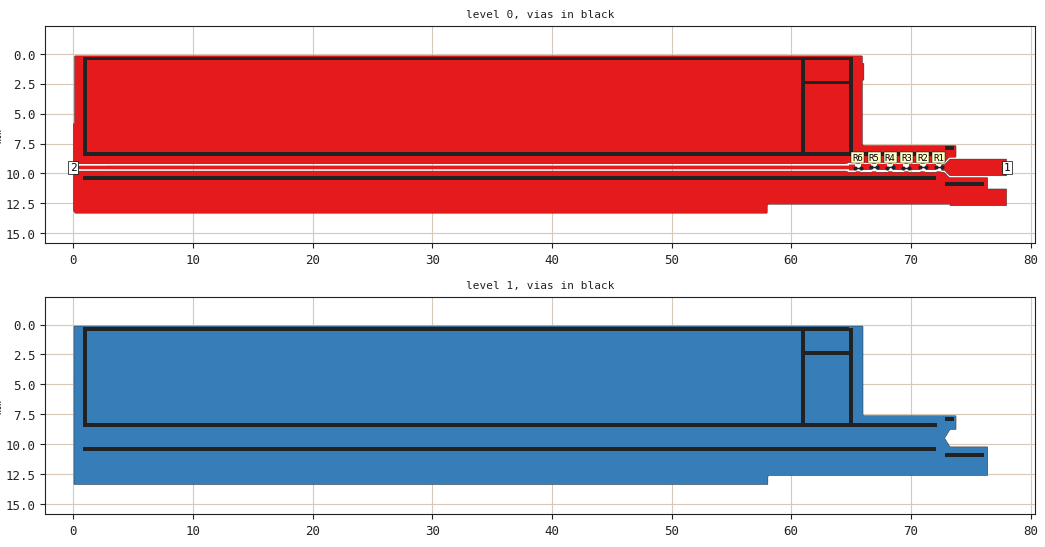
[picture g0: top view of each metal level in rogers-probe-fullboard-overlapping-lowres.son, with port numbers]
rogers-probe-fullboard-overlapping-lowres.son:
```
FTYP SONPROJ 17 ! Sonnet Project File
VER 17.52.2
HEADER
LIC antikernel2.2.49648 90e2ba8817c0 havequick azonenberg
DAT 08/19/2020 03:57:35
BUILT_BY_CREATED xgeom 16.56 07/03/2018 15:05:41
BUILT_BY_SAVED sonnet 17.52.2
MDATE 08/16/2020 10:38:09
HDATE 08/16/2020 10:38:09
END HEADER
DIM
ANG DEG
CAP PF
CON /OH
FREQ GHZ
IND NH
LNG MM
RES OH
END DIM
CONTROL
VARSWP
OPTIONS  -dj
SPEED 1
CACHE_ABS 1
Q_ACC N
END CONTROL
GEO
TMET "Free Space" 0 FREESPACE 376.7303136 0 0 0
BMET "Free Space" 0 FREESPACE 376.7303136 0 0 0
MET "Copper thick 1oz" 1 TMM 58000000 0.5 0.035 2
MET "Copper" 2 NOR 58000000 0.5 0.035 
BOX 2 78 13.5 6240 1080 20 0
      1 1 1 0 0 0 0 "Air"
      0.16 3.5 1 0.0037 0 0 0 "Rogers RO4350B"
      1 1 1 0 0 0 0 "Substrate"
TECHLAY METAL Metal1 <UNSPECIFIED> -2 0 
0 0 0 N 0 1 1 100 100 0 0 0 Y
END
END
TECHLAY METAL Metal2 <UNSPECIFIED> -3 0 
1 0 1 N 0 1 1 100 100 0 0 0 Y
END
END
LORGN 0 13.5 U 
POR1 BOX
POLY 254 1
33
1 50 0 0 0 78 9.5 
POR1 BOX
POLY 258 1
7
2 50 0 0 0 0 9.5 
SMD 0 "R1"
ID 226
GNDREF AUTO
SBOX 72.199 72.449 9.339 9.589
PBSHW N
LPOS 72.324 9.339
TYPE SPARAM 1
SMDP 0 72.574 9.464 R 3 1 
EXSMDP
GNDREF AUTO
TERMW FEED
END EXSMDP
SMDP 0 72.074 9.464 L 4 2 
EXSMDP
GNDREF AUTO
TERMW FEED
END EXSMDP
END
SMD 0 "R2"
ID 229
GNDREF AUTO
SBOX 70.849 71.099 9.364 9.614
PBSHW N
LPOS 70.974 9.364
TYPE SPARAM 2
SMDP 0 71.224 9.489 R 5 1 
EXSMDP
GNDREF AUTO
TERMW FEED
END EXSMDP
SMDP 0 70.724 9.489 L 6 2 
EXSMDP
GNDREF AUTO
TERMW FEED
END EXSMDP
END
SMD 0 "R3"
ID 232
GNDREF AUTO
SBOX 69.499 69.749 9.389 9.639
PBSHW N
LPOS 69.624 9.389
TYPE SPARAM 2
SMDP 0 69.874 9.514 R 7 1 
EXSMDP
GNDREF AUTO
TERMW FEED
END EXSMDP
SMDP 0 69.374 9.514 L 8 2 
EXSMDP
GNDREF AUTO
TERMW FEED
END EXSMDP
END
SMD 0 "R4"
ID 235
GNDREF AUTO
SBOX 68.149 68.399 9.3765 9.6265
PBSHW N
LPOS 68.274 9.3765
TYPE SPARAM 2
SMDP 0 68.524 9.489 R 9 1 
EXSMDP
GNDREF AUTO
TERMW FEED
END EXSMDP
SMDP 0 68.024 9.514 L 10 2 
EXSMDP
GNDREF AUTO
TERMW FEED
END EXSMDP
END
SMD 0 "R5"
ID 238
GNDREF AUTO
SBOX 66.799 67.049 9.364 9.614
PBSHW N
LPOS 66.924 9.364
TYPE SPARAM 2
SMDP 0 67.174 9.489 R 11 1 
EXSMDP
GNDREF AUTO
TERMW FEED
END EXSMDP
SMDP 0 66.674 9.489 L 12 2 
EXSMDP
GNDREF AUTO
TERMW FEED
END EXSMDP
END
SMD 0 "R6"
ID 241
GNDREF AUTO
SBOX 65.449 65.699 9.389 9.639
PBSHW N
LPOS 65.574 9.389
TYPE SPARAM 3
SMDP 0 65.824 9.514 R 13 1 
EXSMDP
GNDREF AUTO
TERMW FEED
END EXSMDP
SMDP 0 65.324 9.514 L 14 2 
EXSMDP
GNDREF AUTO
TERMW FEED
END EXSMDP
END
NUM 15
VIA POLYGON
0 5 -1 N 244 1 1 100 100 0 0 0 Y
TOLEVEL 1 RING NOCOVERS
USER_DAT FromImport
0.824 0.539
0.824 0.239
64.8 0.239
64.8 0.539
0.824 0.539
END
VIA POLYGON
0 5 -1 N 245 1 1 100 100 0 0 0 Y
TOLEVEL 1 RING NOCOVERS
USER_DAT FromImport
0.824 10.539
0.824 10.239
72.1 10.239
72.1 10.539
0.824 10.539
END
VIA POLYGON
0 5 -1 N 246 1 1 100 100 0 0 0 Y
TOLEVEL 1 RING NOCOVERS
USER_DAT FromImport
72.824 8.039
72.824 7.739
73.575 7.739
73.575 8.039
72.824 8.039
END
VIA POLYGON
0 5 -1 N 247 1 1 100 100 0 0 0 Y
TOLEVEL 1 RING NOCOVERS
USER_DAT FromImport
72.824 11.039
72.824 10.739
76.1 10.739
76.1 11.039
72.824 11.039
END
0 5 0 N 248 1 1 100 100 0 0 0 Y
USER_DAT FromImport
69.375 9.25
68.525 9.25
68.525 9.75
69.375 9.75
69.375 9.25
END
0 5 0 N 249 1 1 100 100 0 0 0 Y
USER_DAT FromImport
70.725 9.25
69.875 9.25
69.875 9.75
70.725 9.75
70.725 9.25
END
0 5 0 N 250 1 1 100 100 0 0 0 Y
USER_DAT FromImport
72.075 9.25
71.225 9.25
71.225 9.75
72.075 9.75
72.075 9.25
END
0 5 0 N 251 1 1 100 100 0 0 0 Y
USER_DAT FromImport
68.025 9.25
67.175 9.25
67.175 9.75
68.025 9.75
68.025 9.25
END
0 5 0 N 252 1 1 100 100 0 0 0 Y
USER_DAT FromImport
66.675 9.25
65.825 9.25
65.825 9.75
66.675 9.75
66.675 9.25
END
VIA POLYGON
0 20 -1 N 253 1 1 100 100 0 0 0 Y
TOLEVEL 1 RING NOCOVERS
USER_DAT FromImport
72.15 8.239
65.124 8.239
65.124 0.25
64.824 0.25
64.824 8.239
61.124 8.239
61.124 2.539
64.8 2.539
64.8 2.239
61.124 2.239
61.124 0.55
60.824 0.55
60.824 8.239
1.124 8.239
1.124 0.55
0.824 0.55
0.824 8.239
0.824 8.539
72.15 8.539
72.15 8.239
END
0 35 0 N 254 1 1 100 100 0 0 0 Y
USER_DAT FromImport
78 8.8
73.275 8.8
73.275 8.80442
73.2743 8.8047
73.27 8.8071
73.2659 8.8098
73.2621 8.8129
73.2586 8.8164
72.8414 9.2336
72.8414 9.2336
72.8414 9.2336
72.8379 9.2371
72.8348 9.2409
72.8321 9.245
72.8297 9.2493
72.82942 9.25
72.575 9.25
72.575 9.75
72.82942 9.75
72.8297 9.7507
72.8321 9.755
72.8348 9.7591
72.8379 9.7629
72.8414 9.7664
72.8414 9.7664
72.8414 9.7664
73.2586 10.1836
73.2621 10.1871
73.2659 10.1902
73.27 10.1929
73.2743 10.1953
73.275 10.19558
73.275 10.2
78 10.2
78 8.8
END
0 262 0 N 256 1 1 100 100 0 0 0 Y
USER_DAT FromImport
64.5674 9.1943
64.5746 9.1928
64.5817 9.1907
64.5885 9.1879
64.595 9.1844
64.6011 9.1803
64.6068 9.1756
64.612 9.1704
64.6167 9.1647
64.6208 9.1586
64.6243 9.1521
64.62442133 9.151805333
64.62515753 9.150424019
64.62523245 9.150332505
64.6287 9.15
64.6873 9.15
64.6946 9.1493
64.7018 9.1478
64.7089 9.1457
64.7157 9.1429
64.7222 9.1394
64.7283 9.1353
64.74130705 9.124652367
64.76711031 9.110845361
64.79561747 9.102206827
64.8289451 9.0989
65.3210549 9.0989
65.35438253 9.102206827
65.38288969 9.110845361
65.40869295 9.124652367
65.4217 9.1353
65.4278 9.1394
65.4343 9.1429
65.4411 9.1457
65.4482 9.1478
65.4554 9.1493
65.4627 9.15
65.6873 9.15
65.6946 9.1493
65.7018 9.1478
65.7089 9.1457
65.7157 9.1429
65.7222 9.1394
65.7283 9.1353
65.74130705 9.124652367
65.76711031 9.110845361
65.79561747 9.102206827
65.8289451 9.0989
66.6710549 9.0989
66.70438253 9.102206827
66.73288969 9.110845361
66.75869295 9.124652367
66.7717 9.1353
66.7778 9.1394
66.7843 9.1429
66.7911 9.1457
66.7982 9.1478
66.8054 9.1493
66.8127 9.15
67.0373 9.15
67.0446 9.1493
67.0518 9.1478
67.0589 9.1457
67.0657 9.1429
67.0722 9.1394
67.0783 9.1353
67.09130705 9.124652367
67.11711031 9.110845361
67.14561747 9.102206827
67.1789451 9.0989
68.0210549 9.0989
68.05438253 9.102206827
68.08288969 9.110845361
68.10869295 9.124652367
68.1217 9.1353
68.1278 9.1394
68.1343 9.1429
68.1411 9.1457
68.1482 9.1478
68.1554 9.1493
68.1627 9.15
68.3873 9.15
68.3946 9.1493
68.4018 9.1478
68.4089 9.1457
68.4157 9.1429
68.4222 9.1394
68.4283 9.1353
68.44130705 9.124652367
68.46711031 9.110845361
68.49561747 9.102206827
68.5289451 9.0989
69.3710549 9.0989
69.40438253 9.102206827
69.43288969 9.110845361
69.45869295 9.124652367
69.4717 9.1353
69.4778 9.1394
69.4843 9.1429
69.4911 9.1457
69.4982 9.1478
69.5054 9.1493
69.5127 9.15
69.7373 9.15
69.7446 9.1493
69.7518 9.1478
69.7589 9.1457
69.7657 9.1429
69.7722 9.1394
69.7783 9.1353
69.79130705 9.124652367
69.81711031 9.110845361
69.84561747 9.102206827
69.8789451 9.0989
70.7210549 9.0989
70.75438253 9.102206827
70.78288969 9.110845361
70.80869295 9.124652367
70.8217 9.1353
70.8278 9.1394
70.8343 9.1429
70.8411 9.1457
70.8482 9.1478
70.8554 9.1493
70.8627 9.15
71.0873 9.15
71.0946 9.1493
71.1018 9.1478
71.1089 9.1457
71.1157 9.1429
71.1222 9.1394
71.1283 9.1353
71.14130705 9.124652367
71.16711031 9.110845361
71.19561747 9.102206827
71.2289451 9.0989
72.0710549 9.0989
72.10438253 9.102206827
72.13288969 9.110845361
72.15869295 9.124652367
72.1717 9.1353
72.1778 9.1394
72.1843 9.1429
72.1911 9.1457
72.1982 9.1478
72.2054 9.1493
72.2127 9.15
72.4373 9.15
72.4446 9.1493
72.4518 9.1478
72.4589 9.1457
72.4657 9.1429
72.4722 9.1394
72.4783 9.1353
72.49130705 9.124652367
72.51711031 9.110845361
72.54561747 9.102206827
72.5789451 9.0989
72.7366 9.0989
72.7439 9.0982
72.7511 9.0968
72.7582 9.0946
72.765 9.0918
72.7715 9.0883
72.7776 9.0842
72.7833 9.0795
73.1637 8.6991
73.16831395 8.693504353
73.19133524 8.674637283
73.21711031 8.660845361
73.24561747 8.652206827
73.2789451 8.6489
73.7037 8.6489
73.711 8.6482
73.7182 8.6468
73.7253 8.6446
73.7321 8.6418
73.7386 8.6383
73.7447 8.6342
73.7504 8.6295
73.7556 8.6243
73.7603 8.6186
73.7644 8.6125
73.7679 8.606
73.7707 8.5992
73.7728 8.5922
73.7743 8.5849
73.775 8.5776
73.775 7.7537
73.775 7.7463
73.7743 7.739
73.7728 7.7318
73.7707 7.7247
73.7679 7.7179
73.7644 7.7114
73.7603 7.7053
73.7556 7.6996
73.7504 7.6944
73.7447 7.6897
73.7386 7.6856
73.7321 7.6821
73.7253 7.6793
73.7182 7.6772
73.711 7.6757
73.7037 7.675
66.1336 7.675
66.1263 7.6757
66.12622949 7.675714488
66.12504251 7.675829553
66.09070744 7.672475327
66.05752636 7.662374077
66.02758728 7.64638661
66.00067315 7.624326851
65.97861339 7.597412715
65.96262592 7.567473639
65.95252467 7.534292562
65.94917045 7.499957489
65.94928551 7.498770509
65.9493 7.4987
65.95 7.4914
65.95 2.2
66.075 2.2
66.075 0.8
65.95 0.8
65.95 0.2463
65.9493 0.239
65.9478 0.2318
65.9457 0.2247
65.9429 0.2179
65.9394 0.2114
65.9353 0.2053
65.9306 0.1996
65.9254 0.1944
65.9197 0.1897
65.9136 0.1856
65.9071 0.1821
65.9003 0.1793
65.8932 0.1772
65.886 0.1757
65.8787 0.175
0.1713 0.175
0.164 0.1757
0.1568 0.1772
0.1497 0.1793
0.1429 0.1821
0.1364 0.1856
0.1303 0.1897
0.1246 0.1944
0.1194 0.1996
0.1147 0.2053
0.1106 0.2114
0.1071 0.2179
0.1043 0.2247
0.1022 0.2318
0.1007 0.239
0.1 0.2463
0.1 0.2537
0.1 5.845
0 5.845
0 9.195
64.5601 9.195
64.5674 9.1943
END
0 248 0 N 257 1 1 100 100 0 0 0 Y
USER_DAT FromImport
57.936 13.3243
57.9432 13.3228
57.9503 13.3207
57.9571 13.3179
57.9636 13.3144
57.9697 13.3103
57.9754 13.3056
57.9806 13.3004
57.9853 13.2947
57.9894 13.2886
57.9929 13.2821
57.9957 13.2753
57.9978 13.2682
57.9993 13.261
58 13.2537
58 12.7586
57.9993 12.7513
57.99928551 12.75122949
57.99917045 12.75004251
58.00252467 12.71570744
58.01262592 12.68252636
58.02861339 12.65258728
58.05067315 12.62567315
58.07758728 12.60361339
58.10752636 12.58762592
58.14070937 12.57752408
58.1737 12.5743
58.17377051 12.57428551
58.175 12.57416633
58.17622949 12.57428551
58.1763 12.5743
58.1836 12.575
73.275 12.575
73.275 12.7
78 12.7
78 11.3
76.425 11.3
76.425 10.4224
76.4243 10.4151
76.4228 10.4078
76.4207 10.4008
76.4179 10.394
76.4144 10.3875
76.4103 10.3814
76.4056 10.3757
76.4004 10.3704
76.3947 10.3658
76.3886 10.3617
76.3821 10.3582
76.3753 10.3554
76.3682 10.3532
76.361 10.3518
76.3537 10.3511
73.2789451 10.3511
73.24561747 10.34779317
73.21711031 10.33915464
73.19133524 10.32536272
73.16831395 10.30649565
73.1637 10.3009
72.7833 9.9204
72.7776 9.9158
72.7715 9.9117
72.765 9.9082
72.7582 9.9054
72.7511 9.9032
72.7439 9.9018
72.7366 9.9011
72.5789451 9.9011
72.54561747 9.897793173
72.51711031 9.889154639
72.49130705 9.875347633
72.4783 9.8647
72.4722 9.8606
72.4657 9.8571
72.4589 9.8543
72.4518 9.8522
72.4446 9.8507
72.4373 9.85
72.2127 9.85
72.2054 9.8507
72.1982 9.8522
72.1911 9.8543
72.1843 9.8571
72.1778 9.8606
72.1717 9.8647
72.15869295 9.875347633
72.13288969 9.889154639
72.10438253 9.897793173
72.0710549 9.9011
71.2289451 9.9011
71.19561747 9.897793173
71.16711031 9.889154639
71.14130705 9.875347633
71.1283 9.8647
71.1222 9.8606
71.1157 9.8571
71.1089 9.8543
71.1018 9.8522
71.0946 9.8507
71.0873 9.85
70.8627 9.85
70.8554 9.8507
70.8482 9.8522
70.8411 9.8543
70.8343 9.8571
70.8278 9.8606
70.8217 9.8647
70.80869295 9.875347633
70.78288969 9.889154639
70.75438253 9.897793173
70.7210549 9.9011
69.8789451 9.9011
69.84561747 9.897793173
69.81711031 9.889154639
69.79130705 9.875347633
69.7783 9.8647
69.7722 9.8606
69.7657 9.8571
69.7589 9.8543
69.7518 9.8522
69.7446 9.8507
69.7373 9.85
69.5127 9.85
69.5054 9.8507
69.4982 9.8522
69.4911 9.8543
69.4843 9.8571
69.4778 9.8606
69.4717 9.8647
69.45869295 9.875347633
69.43288969 9.889154639
69.40438253 9.897793173
69.3710549 9.9011
68.5289451 9.9011
68.49561747 9.897793173
68.46711031 9.889154639
68.44130705 9.875347633
68.4283 9.8647
68.4222 9.8606
68.4157 9.8571
68.4089 9.8543
68.4018 9.8522
68.3946 9.8507
68.3873 9.85
68.1627 9.85
68.1554 9.8507
68.1482 9.8522
68.1411 9.8543
68.1343 9.8571
68.1278 9.8606
68.1217 9.8647
68.10869295 9.875347633
68.08288969 9.889154639
68.05438253 9.897793173
68.0210549 9.9011
67.1789451 9.9011
67.14561747 9.897793173
67.11711031 9.889154639
67.09130705 9.875347633
67.0783 9.8647
67.0722 9.8606
67.0657 9.8571
67.0589 9.8543
67.0518 9.8522
67.0446 9.8507
67.0373 9.85
66.8127 9.85
66.8054 9.8507
66.7982 9.8522
66.7911 9.8543
66.7843 9.8571
66.7778 9.8606
66.7717 9.8647
66.75869295 9.875347633
66.73288969 9.889154639
66.70438253 9.897793173
66.6710549 9.9011
65.8289451 9.9011
65.79561747 9.897793173
65.76711031 9.889154639
65.74130705 9.875347633
65.7283 9.8647
65.7222 9.8606
65.7157 9.8571
65.7089 9.8543
65.7018 9.8522
65.6946 9.8507
65.6873 9.85
65.4627 9.85
65.4554 9.8507
65.4482 9.8522
65.4411 9.8543
65.4343 9.8571
65.4278 9.8606
65.4217 9.8647
65.40869295 9.875347633
65.38288969 9.889154639
65.35438253 9.897793173
65.3210549 9.9011
64.8289451 9.9011
64.79561747 9.897793173
64.76711031 9.889154639
64.74130705 9.875347633
64.7283 9.8647
64.7222 9.8606
64.7157 9.8571
64.7089 9.8543
64.7018 9.8522
64.6946 9.8507
64.6873 9.85
64.6287 9.85
64.62523245 9.849667495
64.62515753 9.849575981
64.62442133 9.848194667
64.6243 9.8479
64.6208 9.8414
64.6167 9.8353
64.612 9.8296
64.6068 9.8244
64.6011 9.8197
64.595 9.8156
64.5885 9.8121
64.5817 9.8093
64.5746 9.8072
64.5674 9.8057
64.5601 9.805
0 9.805
0 13.155
0.1 13.155
0.1 13.2463
0.1 13.2537
0.1007 13.261
0.1022 13.2682
0.1043 13.2753
0.1071 13.2821
0.1106 13.2886
0.1147 13.2947
0.1194 13.3004
0.1246 13.3056
0.1303 13.3103
0.1364 13.3144
0.1429 13.3179
0.1497 13.3207
0.1568 13.3228
0.164 13.3243
0.1713 13.325
57.9287 13.325
57.936 13.3243
END
0 17 0 N 258 1 1 100 100 0 0 0 Y
USER_DAT FromImport
65.325 9.25
64.825 9.25
64.825 9.345
2.7174 9.345
2.7022 9.3465
2.6873 9.3495
2.685640909 9.35
0 9.35
0 9.65
2.685640909 9.65
2.6873 9.6505
2.7022 9.6535
2.7174 9.655
64.825 9.655
64.825 9.75
65.325 9.75
65.325 9.25
END
1 169 -1 N 262 1 1 100 100 0 0 0 Y
USER_DAT FromImport
58.0073 13.3745
58.0122 13.3736
58.0169 13.3721
58.0214 13.3703
58.0257 13.3679
58.0298 13.3652
58.0336 13.3621
58.0371 13.3586
58.0402 13.3548
58.0429 13.3507
58.0453 13.3464
58.0471 13.3419
58.0486 13.3372
58.0495 13.3323
58.05 13.3275
58.05 12.7611
58.05 12.7561
58.04940884 12.75000646
58.05176382 12.72577491
58.05900671 12.70182255
58.07043704 12.68038296
58.08620686 12.66120686
58.10538296 12.64543704
58.12682255 12.63400671
58.15080652 12.62675426
58.1687 12.625
58.1689 12.625
58.175 12.62440821
58.1811 12.625
76.3775 12.625
76.3824 12.6245
76.3872 12.6236
76.3919 12.6221
76.3964 12.6203
76.4008 12.6179
76.4048 12.6152
76.4086 12.6121
76.4121 12.6086
76.4152 12.6048
76.418 12.6007
76.4203 12.5964
76.4222 12.5919
76.4236 12.5872
76.4245 12.5824
76.425 12.5775
76.42539915 10.27750818
76.4254 10.2775
76.4254 10.2725
76.4249 10.2677
76.424 10.2628
76.4226 10.2581
76.4207 10.2536
76.4184 10.2493
76.4156 10.2452
76.4125 10.2414
76.4091 10.2379
76.4053 10.2348
76.4012 10.2321
76.3968 10.2297
76.3923 10.2279
76.3876 10.2264
76.3828 10.2255
76.3779 10.225
73.27805263 10.225
73.27504578 10.22464951
73.27366449 10.22285384
72.82589306 9.501433325
72.82550808 9.500713266
72.82528007 9.500038933
72.82643499 9.497693565
73.27348068 8.777442305
73.27522912 8.77522646
73.27743333 8.775
73.7275 8.775
73.7323 8.7745
73.7372 8.7736
73.7419 8.7721
73.7464 8.7703
73.7507 8.7679
73.7548 8.7652
73.7586 8.7621
73.7621 8.7586
73.7652 8.7548
73.7679 8.7507
73.7703 8.7464
73.7721 8.7419
73.7736 8.7372
73.7745 8.7323
73.775 8.7275
73.775 7.6725
73.7745 7.6677
73.7736 7.6628
73.7721 7.6581
73.7703 7.6536
73.7679 7.6493
73.7652 7.6452
73.7621 7.6414
73.7586 7.6379
73.7548 7.6348
73.7507 7.6321
73.7464 7.6297
73.7419 7.6279
73.7372 7.6264
73.7323 7.6255
73.7275 7.625
66.1311 7.625
66.12500646 7.625591165
66.10077491 7.623236181
66.07682255 7.615993292
66.05538296 7.604562963
66.03620686 7.588793141
66.02043704 7.569617037
66.00900671 7.548177447
66.00176382 7.524225086
65.99940884 7.499993543
66 7.4939
66 0.1775
66 0.1725
65.9995 0.1677
65.9986 0.1628
65.9971 0.1581
65.9953 0.1536
65.9929 0.1493
65.9902 0.1452
65.9871 0.1414
65.9836 0.1379
65.9798 0.1348
65.9757 0.1321
65.9714 0.1297
65.9669 0.1279
65.9622 0.1264
65.9573 0.1255
65.9525 0.125
0.0975 0.125
0.0927 0.1255
0.0878 0.1264
0.0831 0.1279
0.0786 0.1297
0.0743 0.1321
0.0702 0.1348
0.0664 0.1379
0.0629 0.1414
0.0598 0.1452
0.0571 0.1493
0.0547 0.1536
0.0529 0.1581
0.0514 0.1628
0.0505 0.1677
0.05 0.1725
0.05 0.1775
0.05 13.3225
0.05 13.3275
0.0505 13.3323
0.0514 13.3372
0.0529 13.3419
0.0547 13.3464
0.0571 13.3507
0.0598 13.3548
0.0629 13.3586
0.0664 13.3621
0.0702 13.3652
0.0743 13.3679
0.0786 13.3703
0.0831 13.3721
0.0878 13.3736
0.0927 13.3745
0.0975 13.375
58.0025 13.375
58.0073 13.3745
END
END GEO
OPT
MAX 100
END OPT
VARSWP
ENABLED Y
FREQ Y AY ABS_ENTRY 0.1 10.0 -1 300 
END
END VARSWP
FILEOUT
FOLDER .
END FILEOUT
SMDFILES
1 "../../../../../../share/datasheets/Vishay/0402/FC0402-FlipChip-100 Ohm.s2p"
3 "../../../../../../share/datasheets/Vishay/0402/FC0402-FlipChip-50 Ohm.s2p"
2 "../../../../../../share/datasheets/Vishay/0402/FC0402-FlipChip-75 Ohm.s2p"
END SMDFILES
```
